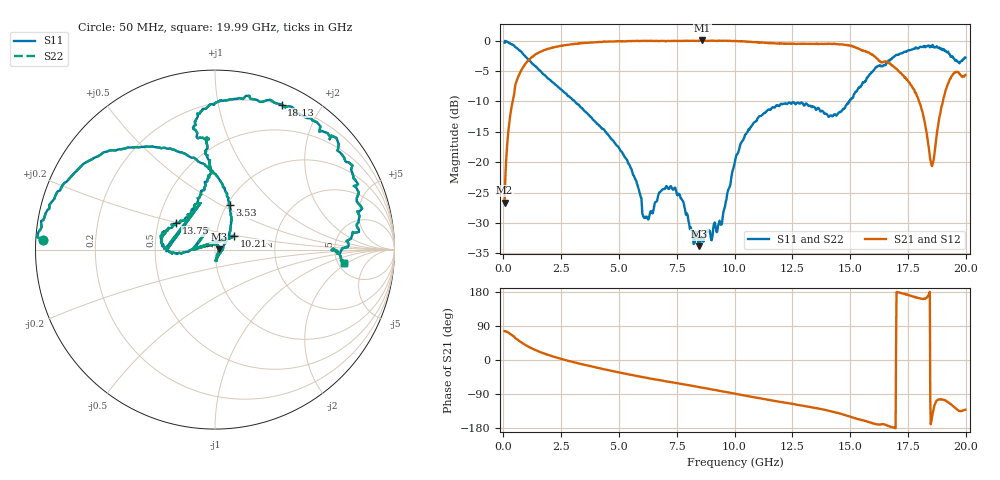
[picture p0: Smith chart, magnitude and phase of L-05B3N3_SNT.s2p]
! Data Taken on a HP 8720C VNA using a shunt-through fixture with TRL* de-embedding
#	mhz	s	ma	r	50
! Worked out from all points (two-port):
!   998 points, 50 MHz to 19.99 GHz, reference 50 ohm
!   highest |S21| = 0.01 dB at 8.61 GHz (marker M1); lowest = -26.6 dB at 50 MHz (marker M2)
!   |S21| within 3 dB of the highest: 1.157 GHz to 16.18 GHz (15.02 GHz wide, 173 % of centre)
!   lowest |S11| = -33.8 dB at 8.47 GHz (marker M3), VSWR 1.04, Z = 52.1 + j0.12 ohm
!   |S11| at or under -10 dB: 3.082 GHz to 14.97 GHz (11.89 GHz wide, 132 % of centre)
!   |S22| runs from -33.8 to -0.1 dB; largest |S21 - S12| = 0
!   S11 on the Smith chart (normalised r, x): 50 MHz: 0.02, +0.03; 3.53 GHz: 1.03, +0.55; 10.21 GHz: 1.22, +0.19; 13.75 GHz: 0.62, +0.20; 18.13 GHz: 0.20, +1.54; 19.99 GHz: 5.68, -1.80
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50  0.9601 176.8  0.04654 76.4  0.04654 76.4  0.9601 176.8
310  0.9386 162.3  0.2542 67.9  0.2542 67.9  0.9386 162.3
770  0.809 137.2  0.5688 46.7  0.5688 46.7  0.809 137.2
1930  0.4866 98.6  0.8539 13.4  0.8539 13.4  0.4866 98.6
3390  0.2778 73.5  0.9506 -11.0  0.9506 -11.0  0.2778 73.5
3530  0.2613 71.9  0.96 -12.9  0.96 -12.9  0.2613 71.9
5350  0.1043 43.7  0.9877 -37.1  0.9877 -37.1  0.1043 43.7
6090  0.03474 -21.5  0.993 -45.8  0.993 -45.8  0.03474 -21.5
6710  0.05414 -83.1  0.991 -52.7  0.991 -52.7  0.05414 -83.1
7410  0.06165 -84.3  0.9953 -60.1  0.9953 -60.1  0.06165 -84.3
8470  0.02036 3.2  0.9942 -71.6  0.9942 -71.6  0.02036 3.2
8610  0.02309 18.9  1.001 -73.2  1.001 -73.2  0.02309 18.9
9450  0.03101 128.0  0.995 -82.4  0.995 -82.4  0.03101 128.0
10030  0.1037 173.5  0.9905 -89.0  0.9905 -89.0  0.1037 173.5
10210  0.1299 36.1  0.9879 -91.2  0.9879 -91.2  0.1299 36.1
13350  0.2871 156.9  0.9386 -125.1  0.9386 -125.1  0.2871 156.9
13750  0.2623 145.7  0.9395 -129.4  0.9395 -129.4  0.2623 145.7
16670  0.687 99.9  0.6578 -174.5  0.6578 -174.5  0.687 99.9
18130  0.8892 65.4  0.2602 161.4  0.2602 161.4  0.8892 65.4
18550  0.9065 44.5  0.09277 -148.7  0.09277 -148.7  0.9065 44.5
19230  0.8097 8.0  0.4399 -111.0  0.4399 -111.0  0.8097 8.0
19990  0.7248 -5.9  0.5207 -131.3  0.5207 -131.3  0.7248 -5.9
